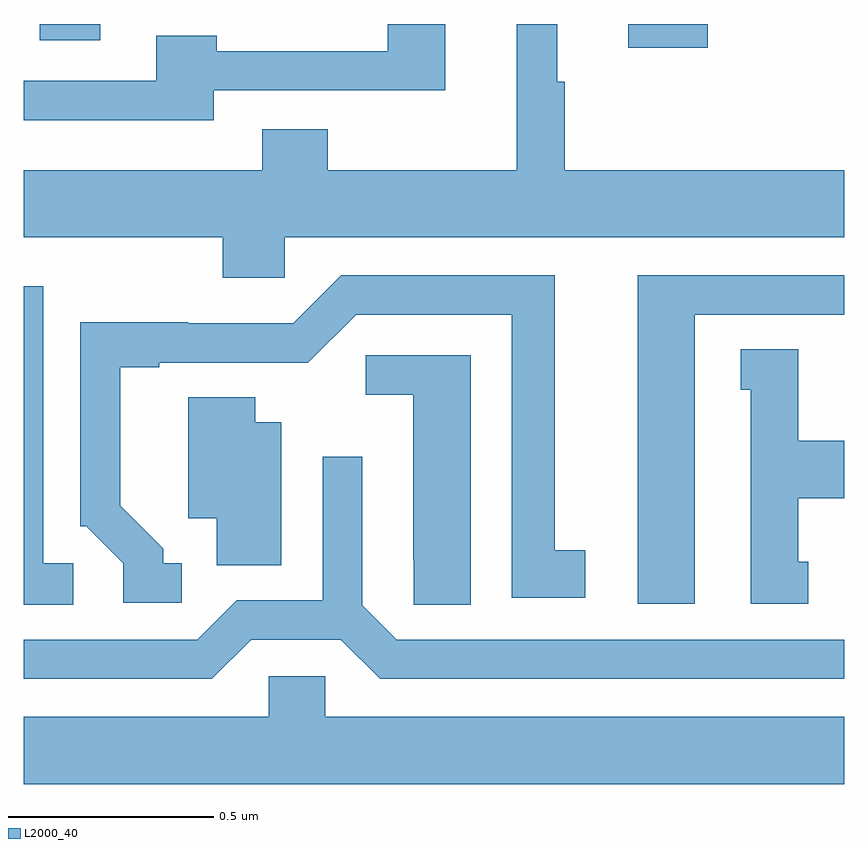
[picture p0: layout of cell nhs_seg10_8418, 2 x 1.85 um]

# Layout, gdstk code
import gdstk
lib = gdstk.Library(unit=1e-6, precision=1e-09)
def R(c, l, rs):  # rectangles x0, y0, x1, y1
    for r in rs: c.add(gdstk.rectangle(r[:2], r[2:], *l))
def P(c, l, *ps):  # polygons
    for p in ps: c.add(gdstk.Polygon(p, *l))
L2000_40 = (2000, 40)

nhs_seg10_8418 = lib.new_cell('nhs_seg10_8418')
R(nhs_seg10_8418, L2000_40, [(217.473,1303.442,217.667,1303.5), (216.039,1303.461,216.187,1303.5)])
P(nhs_seg10_8418, L2000_40, [(216.636,1302.98),(218,1302.98),(218,1303.144),(217.319,1303.144),(217.319,1303.359),(217.3,1303.359),(217.3,1303.5),(217.202,1303.5),(217.202,1303.144),(216.741,1303.144),(216.741,1303.243),(216.581,1303.243),(216.581,1303.144),(216,1303.144),(216,1302.98),(216.485,1302.98),(216.485,1302.882),(216.636,1302.882)],
  [(216.463,1303.338),(217.027,1303.338),(217.027,1303.5),(216.887,1303.5),(216.887,1303.434),(216.471,1303.434),(216.471,1303.471),(216.323,1303.471),(216.323,1303.362),(216,1303.362),(216,1303.266),(216.463,1303.266)],
  [(216.385,1302.186),(216.34,1302.186),(216.34,1302.221),(216.235,1302.326),(216.235,1302.663),(216.331,1302.663),(216.331,1302.675),(216.596,1302.675),(216.596,1302.674),(216.692,1302.674),(216.81,1302.792),(217.19,1302.792),(217.19,1302.102),(217.369,1302.102),(217.369,1302.218),(217.294,1302.218),(217.294,1302.888),(216.774,1302.888),(216.657,1302.771),(216.401,1302.771),(216.401,1302.773),(216.138,1302.773),(216.138,1302.276),(216.153,1302.276),(216.243,1302.186),(216.243,1302.09),(216.385,1302.09)],
  [(217.636,1302.792),(218,1302.792),(218,1302.888),(217.496,1302.888),(217.496,1302.087),(217.636,1302.087)],
  [(216.121,1302.186),(216.048,1302.186),(216.048,1302.861),(216,1302.861),(216,1302.085),(216.121,1302.085)],
  [(217.912,1302.189),(217.888,1302.189),(217.888,1302.344),(218,1302.344),(218,1302.484),(217.888,1302.484),(217.888,1302.707),(217.748,1302.707),(217.748,1302.609),(217.772,1302.609),(217.772,1302.087),(217.912,1302.087)],
  [(217.09,1302.693),(216.834,1302.693),(216.834,1302.596),(216.95,1302.596),(216.95,1302.193),(216.951,1302.193),(216.951,1302.085),(217.09,1302.085)],
  [(216.628,1302.529),(216.565,1302.529),(216.565,1302.59),(216.401,1302.59),(216.401,1302.296),(216.47,1302.296),(216.47,1302.181),(216.628,1302.181)],
  [(216.555,1302),(216.773,1302),(216.869,1301.904),(218,1301.904),(218,1302),(216.909,1302),(216.825,1302.084),(216.825,1302.445),(216.729,1302.445),(216.729,1302.096),(216.519,1302.096),(216.423,1302),(216,1302),(216,1301.904),(216.459,1301.904)],
  [(218,1301.812),(216.735,1301.812),(216.735,1301.91),(216.597,1301.91),(216.597,1301.812),(216,1301.812),(216,1301.648),(218,1301.648)])

lib.write_gds('nhs_seg10_8418.gds')
